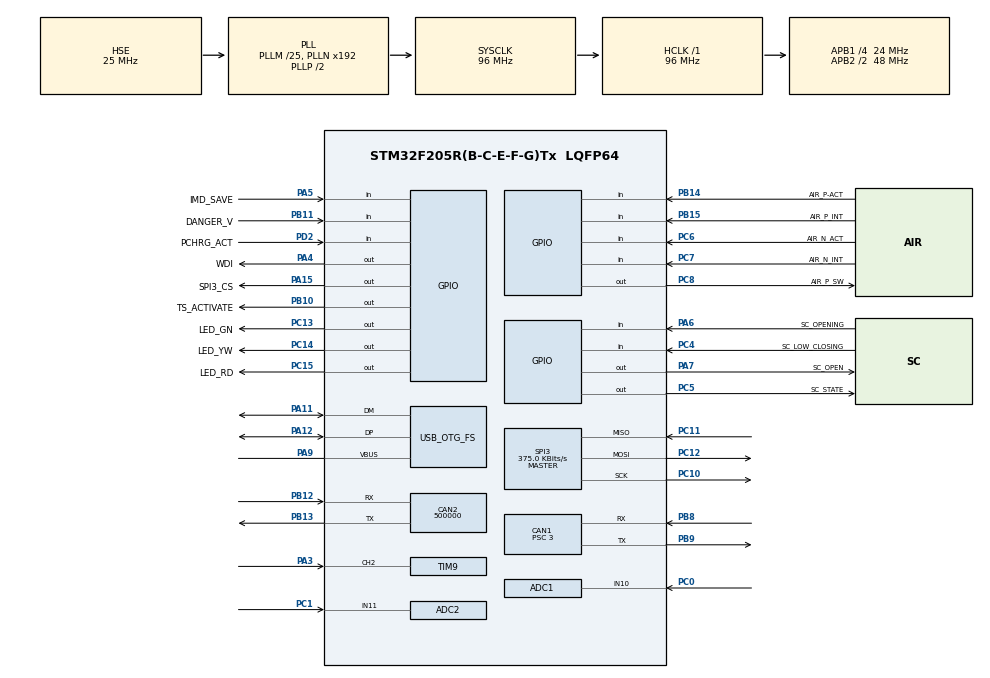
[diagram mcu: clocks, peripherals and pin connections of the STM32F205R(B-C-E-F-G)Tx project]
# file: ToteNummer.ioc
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ADC1.Channel-1\#ChannelRegularConversion=ADC_CHANNEL_10
ADC1.NbrOfConversionFlag=1
ADC1.Rank-1\#ChannelRegularConversion=1
ADC1.SamplingTime-1\#ChannelRegularConversion=ADC_SAMPLETIME_3CYCLES
ADC1.master=1
ADC2.Channel-0\#ChannelRegularConversion=ADC_CHANNEL_11
ADC2.NbrOfConversionFlag=1
ADC2.Rank-0\#ChannelRegularConversion=1
ADC2.SamplingTime-0\#ChannelRegularConversion=ADC_SAMPLETIME_3CYCLES
CAN1.BS1=CAN_BS1_13TQ
CAN1.BS2=CAN_BS2_2TQ
CAN1.CalculateBaudRate=500000
CAN1.CalculateTimeBit=2000
CAN1.CalculateTimeQuantum=125.0
CAN1.Prescaler=3
CAN2.CalculateBaudRate=500000
CAN2.CalculateTimeBit=2000
CAN2.CalculateTimeQuantum=666.6666666666666
Mcu.Family=STM32F2
Mcu.Name=STM32F205R(B-C-E-F-G)Tx
Mcu.Package=LQFP64
NVIC.CAN1_RX0_IRQn=true\:0\:0\:false\:false\:true\:true\:true\:true
NVIC.CAN1_TX_IRQn=true\:0\:0\:false\:false\:true\:true\:true\:true
NVIC.CAN2_RX0_IRQn=true\:0\:0\:false\:false\:true\:true\:true\:true
NVIC.CAN2_TX_IRQn=true\:0\:0\:false\:false\:true\:true\:true\:true
NVIC.OTG_FS_IRQn=true\:0\:0\:false\:false\:true\:false\:true\:true
NVIC.PriorityGroup=NVIC_PRIORITYGROUP_4
NVIC.TIM1_BRK_TIM9_IRQn=true\:0\:0\:false\:false\:true\:true\:true\:true
NVIC.TIM2_IRQn=true\:0\:0\:false\:false\:true\:true\:true\:true
PA11.Mode=Device_Only
PA11.Signal=USB_OTG_FS_DM
PA12.Mode=Device_Only
PA12.Signal=USB_OTG_FS_DP
PA13.Mode=Trace_Asynchronous_SW
PA13.Signal=SYS_JTMS-SWDIO
PA14.Mode=Trace_Asynchronous_SW
PA14.Signal=SYS_JTCK-SWCLK
PA15.GPIO_Label=SPI3_CS
PA15.Signal=GPIO_Output
PA3.Signal=S_TIM9_CH2
PA4.GPIO_Label=WDI
PA4.Signal=GPIO_Output
PA5.GPIO_Label=IMD_SAVE
PA5.Signal=GPIO_Input
PA6.GPIO_Label=SC_OPENING
PA6.Signal=GPIO_Input
PA7.GPIO_Label=SC_OPEN
PA7.PinState=GPIO_PIN_SET
PA7.Signal=GPIO_Output
PA9.Mode=Activate_VBUS
PA9.Signal=USB_OTG_FS_VBUS
PB10.GPIO_Label=TS_ACTIVATE
PB10.Signal=GPIO_Output
PB11.GPIO_Label=DANGER_V
PB11.Signal=GPIO_Input
PB12.Mode=CAN_Activate
PB12.Signal=CAN2_RX
PB13.Mode=CAN_Activate
PB13.Signal=CAN2_TX
PB14.GPIO_Label=AIR_P-ACT
PB14.Signal=GPIO_Input
PB15.GPIO_Label=AIR_P_INT
PB15.Signal=GPIO_Input
PB3.Mode=Trace_Asynchronous_SW
PB3.Signal=SYS_JTDO-SWO
PB8.Mode=CAN_Activate
PB8.Signal=CAN1_RX
PB9.Mode=CAN_Activate
PB9.Signal=CAN1_TX
PC0.Signal=ADCx_IN10
PC1.Signal=ADCx_IN11
PC10.Mode=Full_Duplex_Master
PC10.Signal=SPI3_SCK
PC11.Mode=Full_Duplex_Master
PC11.Signal=SPI3_MISO
PC12.Mode=Full_Duplex_Master
PC12.Signal=SPI3_MOSI
PC13.GPIO_Label=LED_GN
PC13.Signal=GPIO_Output
PC14-OSC32_IN.GPIO_Label=LED_YW
PC14-OSC32_IN.Signal=GPIO_Output
PC15-OSC32_OUT.GPIO_Label=LED_RD
PC15-OSC32_OUT.Signal=GPIO_Output
PC4.GPIO_Label=SC_LOW_CLOSING
PC4.Signal=GPIO_Input
PC5.GPIO_Label=SC_STATE
PC5.PinState=GPIO_PIN_SET
PC5.Signal=GPIO_Output
PC6.GPIO_Label=AIR_N_ACT
PC6.Signal=GPIO_Input
PC7.GPIO_Label=AIR_N_INT
PC7.Signal=GPIO_Input
PC8.GPIO_Label=AIR_P_SW
PC8.Signal=GPIO_Output
PD2.GPIO_Label=PCHRG_ACT
PD2.Signal=GPIO_Input
PH0-OSC_IN.Mode=HSE-External-Oscillator
PH0-OSC_IN.Signal=RCC_OSC_IN
PH1-OSC_OUT.Mode=HSE-External-Oscillator
PH1-OSC_OUT.Signal=RCC_OSC_OUT
ProjectManager.HeapSize=0x200
ProjectManager.StackSize=0x400
ProjectManager.TargetToolchain=STM32CubeIDE
RCC.48MHZClocksFreq_Value=48000000
RCC.AHBFreq_Value=96000000
RCC.APB1CLKDivider=RCC_HCLK_DIV4
RCC.APB1Freq_Value=24000000
RCC.APB1TimFreq_Value=48000000
RCC.APB2CLKDivider=RCC_HCLK_DIV2
RCC.APB2Freq_Value=48000000
RCC.APB2TimFreq_Value=96000000
RCC.CortexFreq_Value=96000000
RCC.HCLKFreq_Value=96000000
RCC.HSE_VALUE=25000000
RCC.HSI_VALUE=16000000
RCC.LSE_VALUE=32768
RCC.PLLM=25
RCC.PLLSourceVirtual=RCC_PLLSOURCE_HSE
RCC.SYSCLKFreq_VALUE=96000000
RCC.SYSCLKSource=RCC_SYSCLKSOURCE_PLLCLK
RCC.VCOOutputFreq_Value=192000000
SH.ADCx_IN10.0=ADC1_IN10,IN10
SH.ADCx_IN11.0=ADC2_IN11,IN11
SH.S_TIM9_CH2.0=TIM9_CH2,PWM_Input_2
SPI3.BaudRatePrescaler=SPI_BAUDRATEPRESCALER_64
SPI3.CalculateBaudRate=375.0 KBits/s
SPI3.Direction=SPI_DIRECTION_2LINES
SPI3.Mode=SPI_MODE_MASTER
SPI3.VirtualType=VM_MASTER
TIM2.Period=10000
TIM2.Prescaler=48-1
USB_DEVICE.CLASS_NAME_FS=CDC
USB_DEVICE.VirtualMode-CDC_FS=Cdc
USB_DEVICE.VirtualModeFS=Cdc_FS
USB_OTG_FS.VirtualMode=Device_Only
VP_TIM2_VS_ClockSourceINT.Mode=Internal
VP_TIM9_VS_ClockSourceINT.Mode=Internal
VP_USB_DEVICE_VS_USB_DEVICE_CDC_FS.Mode=CDC_FS
board=custom

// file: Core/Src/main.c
/* USER CODE BEGIN Header */
/**
  ******************************************************************************
  * @file           : main.c
  * @brief          : Main program body
  ******************************************************************************
  * @attention
  *
  * Copyright (c) 2025 STMicroelectronics.
  * All rights reserved.
  *
  * This software is licensed under terms that can be found in the LICENSE file
  * in the root directory of this software component.
  * If no LICENSE file comes with this software, it is provided AS-IS.
  *
  ******************************************************************************
  */
/* USER CODE END Header */
#include "main.h"
#include "adc.h"
#include "can.h"
#include "spi.h"
#include "tim.h"
#include "usb_device.h"
#include "gpio.h"

/* USER CODE BEGIN Includes */
#include "bms.h"          // Funktionen für das Battery Management System
#include "stdio.h"
#include "usb_device.h"   // USB-Geräteinitialisierung
#include "usb_control.h"  // Eigene USB-Kommunikationsfunktionen
#include "usbd_cdc_if.h"  // USB CDC Interface
#include "usbd_def.h"
#include <string.h>
#include <stdint.h>

void CAN_transceive(CAN_HandleTypeDef *hcan, uint8_t *can_exe_flag, uint8_t *TxData)
{
	if (*can_exe_flag == 0)
	{
		// CAN-Bus starten
		HAL_CAN_Start(hcan);

		// Interrupt aktivieren, sobald eine CAN-Nachricht in FIFO0 ankommt
		HAL_CAN_ActivateNotification(hcan, CAN_IT_RX_FIFO0_MSG_PENDING);

		// Flag erhöhen, damit CAN nicht erneut gestartet wird
		(*can_exe_flag)++;
	}
}
/* USER CODE END Includes */

/* USER CODE BEGIN PV */
// CAN-Sendedaten, vermutlich in anderer Datei definiert
extern uint8_t TxData[8];

// Variablen für USB-Empfang
extern volatile uint8_t  usb_rx_ready;      // Flag: neue USB-Daten empfangen
extern volatile uint32_t usb_rx_len;        // Länge der empfangenen USB-Daten
extern uint8_t usb_rx_data[1024];           // Empfangspuffer für USB-Daten

// USB Device Handle
extern USBD_HandleTypeDef hUsbDeviceFS;
/* USER CODE END PV */

void SystemClock_Config(void);

int main(void)
{

  /* MCU Configuration--------------------------------------------------------*/

  /* Reset of all peripherals, Initializes the Flash interface and the Systick. */
  HAL_Init();

  /* Configure the system clock */
  SystemClock_Config();

  /* Initialize all configured peripherals */
  MX_GPIO_Init();
  MX_TIM9_Init();
  MX_ADC1_Init();
  MX_ADC2_Init();
  MX_CAN1_Init();
  MX_CAN2_Init();
  MX_USB_DEVICE_Init();
  MX_TIM2_Init();
  MX_SPI3_Init();
  /* USER CODE BEGIN 2 */
  // LEDs ausschalten
  // Hinweis: Laut Schaltung bedeutet GPIO_PIN_SET = Spannung hoch = LED aus
  HAL_GPIO_WritePin(LED_GN_GPIO_Port, LED_GN_Pin, GPIO_PIN_SET);
  HAL_GPIO_WritePin(LED_YW_GPIO_Port, LED_YW_Pin, GPIO_PIN_SET);
  HAL_GPIO_WritePin(LED_RD_GPIO_Port, LED_RD_Pin, GPIO_PIN_SET);
  //set hebt die Spannung an (+), led aus, in schematik anschauen
  //reset ist (-), led an

  HAL_TIM_Base_Start_IT(&htim2);		// Timer 2 mit Interrupt starten
  HAL_CAN_Start(&hcan1);				// CAN1 und CAN2 starten
  HAL_CAN_Start(&hcan2);
  BMS_init();							// Battery Management System initialisieren

  // CAN-Empfangsinterrupt für CAN1 aktivieren
  if (HAL_CAN_ActivateNotification(&hcan1, CAN_IT_RX_FIFO0_MSG_PENDING) != HAL_OK)
    {
        Error_Handler();
    }

  if (HAL_CAN_ActivateNotification(&hcan2, CAN_IT_RX_FIFO0_MSG_PENDING) != HAL_OK)
      {
          Error_Handler();
      }

 // Input Capture für Timer 9 starten
 // Kanal 2 ist der Hauptkanal
 HAL_TIM_IC_Start_IT(&htim9, TIM_CHANNEL_2);   // main channel
 // Kanal 1 ist der indirekte Kanal
 HAL_TIM_IC_Start(&htim9, TIM_CHANNEL_1);   // indirect channel

 // IVT-Modul initialisieren
 IVT_init();
  /* USER CODE END 2 */

  /* Infinite loop */
  /* USER CODE BEGIN WHILE */
  while (1)
  {
	  BMS();	// Hauptfunktion des Battery Management Systems zyklisch ausführen

  }
    /* USER CODE END WHILE */

  }

void SystemClock_Config(void)
{
  RCC_OscInitTypeDef RCC_OscInitStruct = {0};
  RCC_ClkInitTypeDef RCC_ClkInitStruct = {0};

  /** Initializes the RCC Oscillators according to the specified parameters
  * in the RCC_OscInitTypeDef structure.
  */
  RCC_OscInitStruct.OscillatorType = RCC_OSCILLATORTYPE_HSE;
  RCC_OscInitStruct.HSEState = RCC_HSE_ON;
  RCC_OscInitStruct.PLL.PLLState = RCC_PLL_ON;
  RCC_OscInitStruct.PLL.PLLSource = RCC_PLLSOURCE_HSE;
  RCC_OscInitStruct.PLL.PLLM = 25;
  RCC_OscInitStruct.PLL.PLLN = 192;
  RCC_OscInitStruct.PLL.PLLP = RCC_PLLP_DIV2;
  RCC_OscInitStruct.PLL.PLLQ = 4;
  if (HAL_RCC_OscConfig(&RCC_OscInitStruct) != HAL_OK)
  {
    Error_Handler();
  }

  /** Initializes the CPU, AHB and APB buses clocks
  */
  RCC_ClkInitStruct.ClockType = RCC_CLOCKTYPE_HCLK|RCC_CLOCKTYPE_SYSCLK
                              |RCC_CLOCKTYPE_PCLK1|RCC_CLOCKTYPE_PCLK2;
  RCC_ClkInitStruct.SYSCLKSource = RCC_SYSCLKSOURCE_PLLCLK;
  RCC_ClkInitStruct.AHBCLKDivider = RCC_SYSCLK_DIV1;
  RCC_ClkInitStruct.APB1CLKDivider = RCC_HCLK_DIV4;
  RCC_ClkInitStruct.APB2CLKDivider = RCC_HCLK_DIV2;

  if (HAL_RCC_ClockConfig(&RCC_ClkInitStruct, FLASH_LATENCY_3) != HAL_OK)
  {
    Error_Handler();
  }
}

void Error_Handler(void)
{
  /* USER CODE BEGIN Error_Handler_Debug */
  /* User can add his own implementation to report the HAL error return state */
  __disable_irq();
  while (1)
  {
	  //erstmal auskommentieren, könnte falsch sein ------------------------------------------------------------------------------------------------------------------------
	  // Optional: rote LED blinken lassen, um Fehler anzuzeigen
	  //HAL_GPIO_TogglePin(LED_RD_GPIO_Port, LED_RD_Pin);
	  //HAL_Delay(200);
  }

}
  /* USER CODE END Error_Handler_Debug */
